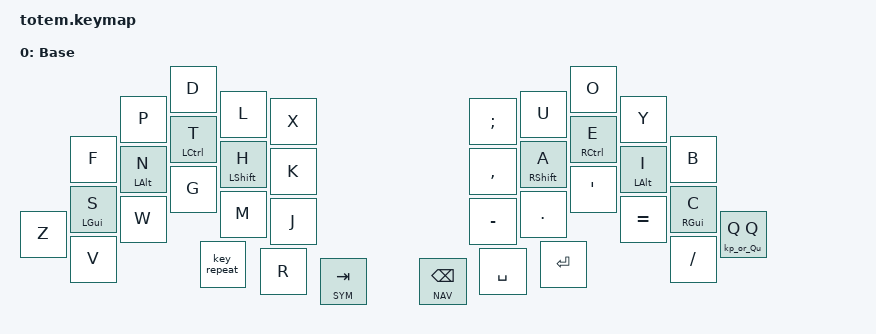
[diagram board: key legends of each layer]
// -*- mode: c++; tab-width: 16 -*-

#include <behaviors.dtsi>
#include <dt-bindings/zmk/keys.h>
#include <dt-bindings/zmk/bt.h>
#include <dt-bindings/zmk/outputs.h>

#include "keys.h"

#define BASE 0
#define NAV  1
#define SYM  2
#define ADJ  3

#define MACRO(name, ...)                   \
    name: name {                           \
        compatible = "zmk,behavior-macro"; \
        #binding-cells = <0>;              \
        bindings = __VA_ARGS__;            \
    };

#define LINGER(name, on_hold, on_tap)         \
    name: name {                              \
        compatible = "zmk,behavior-hold-tap"; \
        #binding-cells = <2>;                 \
        flavor = "tap-preferred";             \
        tapping-term-ms = <200>;              \
        bindings = <on_hold>, <on_tap>;       \
    };

#define unshift <&macro_release &kp LSHIFT &kp RSHIFT>


/ {
    behaviors {
        hml: home_row_mod_left {
            compatible = "zmk,behavior-hold-tap";
            #binding-cells = <2>;
            flavor = "balanced";
            require-prior-idle-ms = <150>;
            tapping-term-ms = <280>;
            // quick-tap-ms = <175>;
            bindings = <&kp>, <&kp>;
            hold-trigger-key-positions = <KEYS_RIGHT>;
            hold-trigger-on-release;
            hold-while-undecided;
        };

        hmr: home_row_mod_right {
            compatible = "zmk,behavior-hold-tap";
            #binding-cells = <2>;
            flavor = "balanced";
            require-prior-idle-ms = <150>;
            tapping-term-ms = <280>;
            // quick-tap-ms = <175>;
            bindings = <&kp>, <&kp>;
            hold-trigger-key-positions = <KEYS_LEFT>;
            hold-trigger-on-release;
            hold-while-undecided;
        };
    };

    lingers {
        LINGER(li, &kp, &kp)

        MACRO(Qu, <&macro_tap &kp Q>, unshift, <&macro_tap &kp U>)
        LINGER(kp_or_Qu, &kp, &Qu)
    };

    combos {
        compatible = "zmk,combos";

        combo_esc {
            timeout-ms = <50>;
            key-positions = <LPT LRT>;
            bindings = <&kp ESC>;
        };

        combo_studio_unlock {
            key-positions = <LPS LPM>;
            bindings = <&studio_unlock>;
        };
    };

    macros {
    //     dbl: dbl {
    //         display-name = "double";
    //         compatible = "zmk,behavior-macro";
    //         #binding-cells = <1>;
    //         bindings = <&macro_param_1to1>, <&kp MACRO_PLACEHOLDER>,
    //                    <&macro_param_1to1>, <&kp MACRO_PLACEHOLDER>;
    //   };
    };

    keymap {
        compatible = "zmk,keymap";
        base_layer {
            display-name = "Base";
            bindings = <

	&kp F	&kp P	&kp D	&kp L	&kp X		&kp SEMI	&kp U	&kp O	&kp Y	&kp B
	&hml LGUI S	&hml LALT N	&hml LCTRL T	&hml LSHFT H	&kp K		&kp COMMA	&hmr RSHFT A	&hmr RCTRL E	&hmr LALT I	&hmr RGUI C
&kp Z	&kp V	&kp W	&kp G	&kp M	&kp J		&kp MINUS	&kp DOT	&kp APOS	&kp EQUAL	&kp SLASH	&kp_or_Qu Q Q
			&key_repeat	&kp R	&lt SYM TAB		&lt NAV BSPC	&kp SPACE	&kp RET
            >;
        };

        nav_layer {
          display-name = "Navigation";
          status = "reserved";
        };

        sym_layer {
          display-name = "Symbols";
          status = "reserved";
        };

        extra_layer {
          status = "reserved";
        };

/*
                nav_layer {
// ┏━━━━━━━━━━━━━━━━━━━━━━━━━━━━━━━━━━━━━━━┓
display-name = "NAVI"                              ;
// ┗━━━━━━━━━━━━━━━━━━━━━━━━━━━━━━━━━━━━━━━┛
//             ┏━━━━━━━━━━━┳━━━━━━━━━━━┳━━━━━━━━━━━┳━━━━━━━━━━━┳━━━━━━━━━━━┓   ┏━━━━━━━━━━━┳━━━━━━━━━━━┳━━━━━━━━━━━┳━━━━━━━━━━━┳━━━━━━━━━━━┓
//             ┃           ┃           ┃     UP    ┃           ┃     {     ┃   ┃     }     ┃     7     ┃     8     ┃     9     ┃     +     ┃
//             ┣━━━━━━━━━━━╋━━━━━━━━━━━╋━━━━━━━━━━━╋━━━━━━━━━━━╋━━━━━━━━━━━┫   ┣━━━━━━━━━━━╋━━━━━━━━━━━╋━━━━━━━━━━━╋━━━━━━━━━━━╋━━━━━━━━━━━┫
//             ┃   SHIFT   ┃   LEFT    ┃    DOWN   ┃   RIGHT   ┃     [     ┃   ┃     ]     ┃     4     ┃     5     ┃     6     ┃     -     ┃
// ┏━━━━━━━━━━━╋━━━━━━━━━━━╋━━━━━━━━━━━╋━━━━━━━━━━━╋━━━━━━━━━━━╋━━━━━━━━━━━┫   ┣━━━━━━━━━━━╋━━━━━━━━━━━╋━━━━━━━━━━━╋━━━━━━━━━━━╋━━━━━━━━━━━╋━━━━━━━━━━━┓
// ┃           ┃           ┃   P UP    ┃  C LOCK   ┃  P DOWN   ┃     (     ┃   ┃     )     ┃     1     ┃     2     ┃     3     ┃     *     ┃           ┃
// ┗━━━━━━━━━━━┻━━━━━━━━━━━┻━━━━━━━━━━━╋━━━━━━━━━━━╋━━━━━━━━━━━╋━━━━━━━━━━━┫   ┣━━━━━━━━━━━╋━━━━━━━━━━━╋━━━━━━━━━━━╋━━━━━━━━━━━┻━━━━━━━━━━━┻━━━━━━━━━━━┛
//                                     ┃           ┃    TAB    ┃    SPC    ┃   ┃    DEL    ┃     0     ┃           ┃
//                                     ┗━━━━━━━━━━━┻━━━━━━━━━━━┻━━━━━━━━━━━┛   ┗━━━━━━━━━━━┻━━━━━━━━━━━┻━━━━━━━━━━━┛
 bindings = <
// ╷           ╷           ╷           ╷           ╷           ╷           ╷   ╷           ╷           ╷           ╷           ╷           ╷           ╷

                &kp ESC     &bt BT_CLR  &kp UP      &kp EQUAL   &kp LBRC        &kp RBRC    &kp KP_N7   &kp KP_N8   &kp KP_N9   &kp KP_PLUS
                &kp LSHFT   &kp LEFT    &kp DOWN    &kp RIGHT   &kp LBKT        &kp RBKT    &kp KP_N4   &kp KP_N5   &kp KP_N6   &kp KP_MINUS
    &trans      &kp DEL     &kp PG_UP   &kp CAPS    &kp PG_DN   &kp LPAR        &kp RPAR    &kp KP_N1   &kp KP_N2   &kp KP_N3   &kp KP_MULTIPLY &trans
                                        &trans      &trans      &trans          &mo ADJ     &kp KP_N0   &trans
                        >;
                };

// ▄▄▄▄▄▄▄▄▄▄▄▄▄▄▄▄▄▄▄▄▄▄▄▄▄▄▄▄▄▄▄▄▄▄▄▄▄▄▄▄▄▄▄▄▄▄▄▄▄▄▄▄▄▄▄▄▄▄▄▄▄▄▄▄▄▄▄▄▄▄▄▄▄▄▄▄▄▄▄▄▄▄▄▄▄▄▄▄▄▄▄▄▄▄▄▄▄▄▄▄▄▄▄▄▄▄▄▄▄▄▄▄▄▄▄▄▄▄▄▄▄▄▄▄▄▄▄▄▄▄▄▄▄▄▄▄▄▄▄▄▄▄▄▄▄▄▄▄▄


                sim_layer {
// ┏━━━━━━━━━━━━━━━━━━━━━━━━━━━━━━━━━━━━━━━┓
display-name = "SYM"                               ;
// ┗━━━━━━━━━━━━━━━━━━━━━━━━━━━━━━━━━━━━━━━┛
//             ┏━━━━━━━━━━━┳━━━━━━━━━━━┳━━━━━━━━━━━┳━━━━━━━━━━━┳━━━━━━━━━━━┓   ┏━━━━━━━━━━━┳━━━━━━━━━━━┳━━━━━━━━━━━┳━━━━━━━━━━━┳━━━━━━━━━━━┓
//             ┃     !     ┃     @     ┃     #     ┃     $     ┃     %     ┃   ┃     ˆ     ┃     &     ┃     Ü     ┃     '     ┃     "     ┃
//             ┣━━━━━━━━━━━╋━━━━━━━━━━━╋━━━━━━━━━━━╋━━━━━━━━━━━╋━━━━━━━━━━━┫   ┣━━━━━━━━━━━╋━━━━━━━━━━━╋━━━━━━━━━━━╋━━━━━━━━━━━╋━━━━━━━━━━━┫
//             ┃     Ä     ┃           ┃    SZ     ┃           ┃           ┃   ┃   MUTE    ┃   YEN     ┃   EURO    ┃  POUND    ┃     Ö     ┃
// ┏━━━━━━━━━━━╋━━━━━━━━━━━╋━━━━━━━━━━━╋━━━━━━━━━━━╋━━━━━━━━━━━╋━━━━━━━━━━━┫   ┣━━━━━━━━━━━╋━━━━━━━━━━━╋━━━━━━━━━━━╋━━━━━━━━━━━╋━━━━━━━━━━━╋━━━━━━━━━━━┓
// ┃           ┃  EMAIL1   ┃  EMAIL2   ┃           ┃           ┃           ┃   ┃   VOL-    ┃   VOL+    ┃   LAST    ┃   NEXT    ┃     \     ┃           ┃
// ┗━━━━━━━━━━━┻━━━━━━━━━━━┻━━━━━━━━━━━╋━━━━━━━━━━━╋━━━━━━━━━━━╋━━━━━━━━━━━┫   ┣━━━━━━━━━━━╋━━━━━━━━━━━╋━━━━━━━━━━━╋━━━━━━━━━━━┻━━━━━━━━━━━┻━━━━━━━━━━━┛
//                                     ┃           ┃    GIF    ┃    ADJ    ┃   ┃           ┃           ┃           ┃
//                                     ┗━━━━━━━━━━━┻━━━━━━━━━━━┻━━━━━━━━━━━┛   ┗━━━━━━━━━━━┻━━━━━━━━━━━┻━━━━━━━━━━━┛
 bindings = <
// ╷           ╷           ╷           ╷           ╷           ╷           ╷   ╷           ╷           ╷           ╷           ╷           ╷           ╷

                &kp EXCL    &kp AT      &kp HASH    &kp DLLR    &kp PRCNT       &kp CARET   &kp AMPS    &kp RA(U)   &kp SQT     &kp DQT
                &kp RA(A)   &trans      &kp RA(S)   &trans      &trans          &kp C_MUTE  &kp LS(RA(N4)) &kp RA(N5) &kp RA(N4)   &kp RA(O)
    &trans      &kp RA(F18) &kp RA(F19) &trans      &trans      &trans          &kp C_VOL_DN &kp C_VOL_UP &kp C_PREV &kp C_NEXT  &kp BSLH   &trans
                                        &trans      &gif        &mo ADJ         &trans      &kp C_PP    &trans
                        >;
                };

// ▄▄▄▄▄▄▄▄▄▄▄▄▄▄▄▄▄▄▄▄▄▄▄▄▄▄▄▄▄▄▄▄▄▄▄▄▄▄▄▄▄▄▄▄▄▄▄▄▄▄▄▄▄▄▄▄▄▄▄▄▄▄▄▄▄▄▄▄▄▄▄▄▄▄▄▄▄▄▄▄▄▄▄▄▄▄▄▄▄▄▄▄▄▄▄▄▄▄▄▄▄▄▄▄▄▄▄▄▄▄▄▄▄▄▄▄▄▄▄▄▄▄▄▄▄▄▄▄▄▄▄▄▄▄▄▄▄▄▄▄▄▄▄▄▄▄▄▄▄


                adjust_layer {
// ┏━━━━━━━━━━━━━━━━━━━━━━━━━━━━━━━━━━━━━━━┓
display-name = "ADJ"                               ;
// ┗━━━━━━━━━━━━━━━━━━━━━━━━━━━━━━━━━━━━━━━┛
//             ┏━━━━━━━━━━━┳━━━━━━━━━━━┳━━━━━━━━━━━┳━━━━━━━━━━━┳━━━━━━━━━━━┓   ┏━━━━━━━━━━━┳━━━━━━━━━━━┳━━━━━━━━━━━┳━━━━━━━━━━━┳━━━━━━━━━━━┓
//             ┃   RESET   ┃ BT CLEAR  ┃  OUT TOG  ┃           ┃           ┃   ┃           ┃    F7     ┃    F8     ┃    F9     ┃    F12    ┃
//             ┣━━━━━━━━━━━╋━━━━━━━━━━━╋━━━━━━━━━━━╋━━━━━━━━━━━╋━━━━━━━━━━━┫   ┣━━━━━━━━━━━╋━━━━━━━━━━━╋━━━━━━━━━━━╋━━━━━━━━━━━╋━━━━━━━━━━━┫
//             ┃ BOOTLOAD  ┃ BT NEXT   ┃           ┃           ┃           ┃   ┃           ┃    F4     ┃    F5     ┃    F6     ┃    F11    ┃
// ┏━━━━━━━━━━━╋━━━━━━━━━━━╋━━━━━━━━━━━╋━━━━━━━━━━━╋━━━━━━━━━━━╋━━━━━━━━━━━┫   ┣━━━━━━━━━━━╋━━━━━━━━━━━╋━━━━━━━━━━━╋━━━━━━━━━━━╋━━━━━━━━━━━╋━━━━━━━━━━━┓
// ┃           ┃           ┃ BT PREV   ┃           ┃           ┃           ┃   ┃           ┃    F1     ┃    F2     ┃    F3     ┃    F10    ┃           ┃
// ┗━━━━━━━━━━━┻━━━━━━━━━━━┻━━━━━━━━━━━╋━━━━━━━━━━━╋━━━━━━━━━━━╋━━━━━━━━━━━┫   ┣━━━━━━━━━━━╋━━━━━━━━━━━╋━━━━━━━━━━━╋━━━━━━━━━━━┻━━━━━━━━━━━┻━━━━━━━━━━━┛
//                                     ┃           ┃           ┃           ┃   ┃           ┃           ┃           ┃
//                                     ┗━━━━━━━━━━━┻━━━━━━━━━━━┻━━━━━━━━━━━┛   ┗━━━━━━━━━━━┻━━━━━━━━━━━┻━━━━━━━━━━━┛
 bindings = <
// ╷           ╷           ╷           ╷           ╷           ╷           ╷   ╷           ╷           ╷           ╷           ╷           ╷           ╷

                &sys_reset  &bt BT_CLR &out OUT_TOG &trans      &trans          &trans      &kp F7      &kp F8      &kp F9      &kp F12
                &bootloader &bt BT_NXT  &trans      &trans      &trans          &trans      &kp F4      &kp F5      &kp F6      &kp F11
    &trans      &trans      &bt BT_PRV  &trans      &trans      &trans          &trans      &kp F1      &kp F2      &kp F3      &kp F10     &trans
                                        &trans      &trans      &trans          &trans      &trans      &trans
                        >;
                }; */
        };
};
